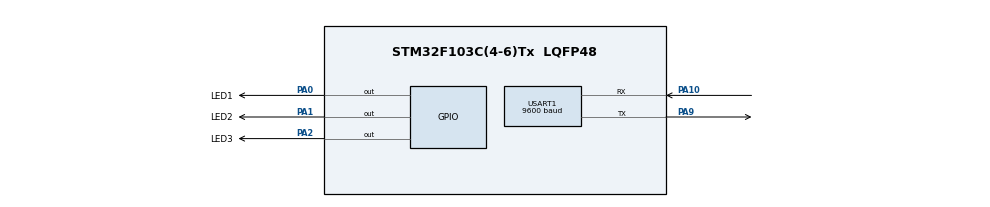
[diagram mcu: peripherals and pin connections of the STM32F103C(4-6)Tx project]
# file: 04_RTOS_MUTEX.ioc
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FREERTOS.Mutexes01=myMutex01,Dynamic,NULL,Available
FREERTOS.Tasks01=defaultTask,24,128,StartDefaultTask,Default,NULL,Dynamic,NULL,NULL;myTask02,8,128,StartTask02,Default,NULL,Dynamic,NULL,NULL;myTask03,8,128,StartTask03,Default,NULL,Dynamic,NULL,NULL
Mcu.Family=STM32F1
Mcu.Name=STM32F103C(4-6)Tx
Mcu.Package=LQFP48
NVIC.PriorityGroup=NVIC_PRIORITYGROUP_4
PA0-WKUP.GPIO_Label=LED1
PA0-WKUP.Signal=GPIO_Output
PA1.GPIO_Label=LED2
PA1.Signal=GPIO_Output
PA10.Mode=Asynchronous
PA10.Signal=USART1_RX
PA2.GPIO_Label=LED3
PA2.Signal=GPIO_Output
PA9.Mode=Asynchronous
PA9.Signal=USART1_TX
ProjectManager.HeapSize=0x200
ProjectManager.StackSize=0x400
ProjectManager.TargetToolchain=STM32CubeIDE
RCC.APB1Freq_Value=8000000
RCC.APB2Freq_Value=8000000
USART1.BaudRate=9600
USART1.VirtualMode=VM_ASYNC
VP_FREERTOS_VS_CMSIS_V2.Mode=CMSIS_V2
VP_SYS_VS_ND.Mode=No_Debug
board=custom

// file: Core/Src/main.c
/* USER CODE BEGIN Header */
/**
  ******************************************************************************
  * @file           : main.c
  * @brief          : Main program body
  ******************************************************************************
  * @attention
  *
  * Copyright (c) 2026 STMicroelectronics.
  * All rights reserved.
  *
  * This software is licensed under terms that can be found in the LICENSE file
  * in the root directory of this software component.
  * If no LICENSE file comes with this software, it is provided AS-IS.
  *
  ******************************************************************************
  */
/* USER CODE END Header */
#include "main.h"
#include "cmsis_os.h"

UART_HandleTypeDef huart1;

/* Definitions for defaultTask */
osThreadId_t defaultTaskHandle;
const osThreadAttr_t defaultTask_attributes = {
  .name = "defaultTask",
  .stack_size = 128 * 4,
  .priority = (osPriority_t) osPriorityNormal,
};
/* Definitions for myTask02 */
osThreadId_t myTask02Handle;
const osThreadAttr_t myTask02_attributes = {
  .name = "myTask02",
  .stack_size = 128 * 4,
  .priority = (osPriority_t) osPriorityLow,
};
/* Definitions for myTask03 */
osThreadId_t myTask03Handle;
const osThreadAttr_t myTask03_attributes = {
  .name = "myTask03",
  .stack_size = 128 * 4,
  .priority = (osPriority_t) osPriorityLow,
};
/* Definitions for myMutex01 */
osMutexId_t myMutex01Handle;
const osMutexAttr_t myMutex01_attributes = {
  .name = "myMutex01"
};

void SystemClock_Config(void);
static void MX_GPIO_Init(void);
static void MX_USART1_UART_Init(void);
void StartDefaultTask(void *argument);
void StartTask02(void *argument);
void StartTask03(void *argument);

/* USER CODE BEGIN 0 */
	osMutexId_t uartMutex;

/* USER CODE END 0 */

int main(void)
{

  /* MCU Configuration--------------------------------------------------------*/

  /* Reset of all peripherals, Initializes the Flash interface and the Systick. */
  HAL_Init();

  /* Configure the system clock */
  SystemClock_Config();

  /* Initialize all configured peripherals */
  MX_GPIO_Init();
  MX_USART1_UART_Init();

  /* Init scheduler */
  osKernelInitialize();
  /* Create the mutex(es) */
  /* creation of myMutex01 */
  uartMutex = osMutexNew(&myMutex01_attributes);

  /* Create the thread(s) */
  /* creation of defaultTask */
  defaultTaskHandle = osThreadNew(StartDefaultTask, NULL, &defaultTask_attributes);

  /* creation of myTask02 */
  myTask02Handle = osThreadNew(StartTask02, NULL, &myTask02_attributes);

  /* creation of myTask03 */
  myTask03Handle = osThreadNew(StartTask03, NULL, &myTask03_attributes);

  /* Start scheduler */
  osKernelStart();

  /* We should never get here as control is now taken by the scheduler */

  /* Infinite loop */
  while (1)
  {

  }
}

void SystemClock_Config(void)
{
  RCC_OscInitTypeDef RCC_OscInitStruct = {0};
  RCC_ClkInitTypeDef RCC_ClkInitStruct = {0};

  /** Initializes the RCC Oscillators according to the specified parameters
  * in the RCC_OscInitTypeDef structure.
  */
  RCC_OscInitStruct.OscillatorType = RCC_OSCILLATORTYPE_HSI;
  RCC_OscInitStruct.HSIState = RCC_HSI_ON;
  RCC_OscInitStruct.HSICalibrationValue = RCC_HSICALIBRATION_DEFAULT;
  RCC_OscInitStruct.PLL.PLLState = RCC_PLL_NONE;
  if (HAL_RCC_OscConfig(&RCC_OscInitStruct) != HAL_OK)
  {
    Error_Handler();
  }

  /** Initializes the CPU, AHB and APB buses clocks
  */
  RCC_ClkInitStruct.ClockType = RCC_CLOCKTYPE_HCLK|RCC_CLOCKTYPE_SYSCLK
                              |RCC_CLOCKTYPE_PCLK1|RCC_CLOCKTYPE_PCLK2;
  RCC_ClkInitStruct.SYSCLKSource = RCC_SYSCLKSOURCE_HSI;
  RCC_ClkInitStruct.AHBCLKDivider = RCC_SYSCLK_DIV1;
  RCC_ClkInitStruct.APB1CLKDivider = RCC_HCLK_DIV1;
  RCC_ClkInitStruct.APB2CLKDivider = RCC_HCLK_DIV1;

  if (HAL_RCC_ClockConfig(&RCC_ClkInitStruct, FLASH_LATENCY_0) != HAL_OK)
  {
    Error_Handler();
  }
}

static void MX_USART1_UART_Init(void)
{

  huart1.Instance = USART1;
  huart1.Init.BaudRate = 9600;
  huart1.Init.WordLength = UART_WORDLENGTH_8B;
  huart1.Init.StopBits = UART_STOPBITS_1;
  huart1.Init.Parity = UART_PARITY_NONE;
  huart1.Init.Mode = UART_MODE_TX_RX;
  huart1.Init.HwFlowCtl = UART_HWCONTROL_NONE;
  huart1.Init.OverSampling = UART_OVERSAMPLING_16;
  if (HAL_UART_Init(&huart1) != HAL_OK)
  {
    Error_Handler();
  }

}

static void MX_GPIO_Init(void)
{
  GPIO_InitTypeDef GPIO_InitStruct = {0};

  /* GPIO Ports Clock Enable */
  __HAL_RCC_GPIOA_CLK_ENABLE();

  /*Configure GPIO pin Output Level */
  HAL_GPIO_WritePin(GPIOA, LED1_Pin|LED2_Pin|LED3_Pin, GPIO_PIN_RESET);

  /*Configure GPIO pins : LED1_Pin LED2_Pin LED3_Pin */
  GPIO_InitStruct.Pin = LED1_Pin|LED2_Pin|LED3_Pin;
  GPIO_InitStruct.Mode = GPIO_MODE_OUTPUT_PP;
  GPIO_InitStruct.Pull = GPIO_NOPULL;
  GPIO_InitStruct.Speed = GPIO_SPEED_FREQ_LOW;
  HAL_GPIO_Init(GPIOA, &GPIO_InitStruct);

}

void StartDefaultTask(void *argument)
{
  /* USER CODE BEGIN 5 */
  /* Infinite loop */
  for(;;)
  {
	  if (osMutexAcquire(uartMutex, osWaitForever) == osOK)
	         {
	             HAL_UART_Transmit(&huart1,
	                               (uint8_t *)"TASK 1 USING UART\r\n",
	                               20,
	                               HAL_MAX_DELAY);

	             osDelay(100);
	             HAL_GPIO_TogglePin(LED1_GPIO_Port, LED1_Pin);

	             osMutexRelease(uartMutex);
	         }

	     }
    osDelay(1);
  }
  /* USER CODE END 5 */

void StartTask02(void *argument)
{
  /* USER CODE BEGIN StartTask02 */
  /* Infinite loop */
  for(;;)
  {
	  if (osMutexAcquire(uartMutex, osWaitForever) == osOK)
	 	         {
	 	             HAL_UART_Transmit(&huart1,
	 	                               (uint8_t *)"TASK 2 USING UART\r\n",
	 	                               20,
	 	                               HAL_MAX_DELAY);

	 	             osDelay(100);
	 	             HAL_GPIO_TogglePin(LED2_GPIO_Port, LED2_Pin);

	 	             osMutexRelease(uartMutex);
	 	         }

	 	     }

    osDelay(1);
  }
  /* USER CODE END StartTask02 */

void StartTask03(void *argument)
{
  /* USER CODE BEGIN StartTask03 */
  /* Infinite loop */
  for(;;)
  {
	  if (osMutexAcquire(uartMutex, osWaitForever) == osOK)
	 	         {
	 	             HAL_UART_Transmit(&huart1,
	 	                               (uint8_t *)"TASK 3 USING UART\r\n",
	 	                               20,
	 	                               HAL_MAX_DELAY);

	 	             osDelay(100);
	 	             HAL_GPIO_TogglePin(LED3_GPIO_Port, LED3_Pin);

	 	             osMutexRelease(uartMutex);
	 	         }

	 	     }
	     osDelay(1);

  /* USER CODE END StartTask03 */
}

void Error_Handler(void)
{
  __disable_irq();
  while (1)
  {
  }
}
